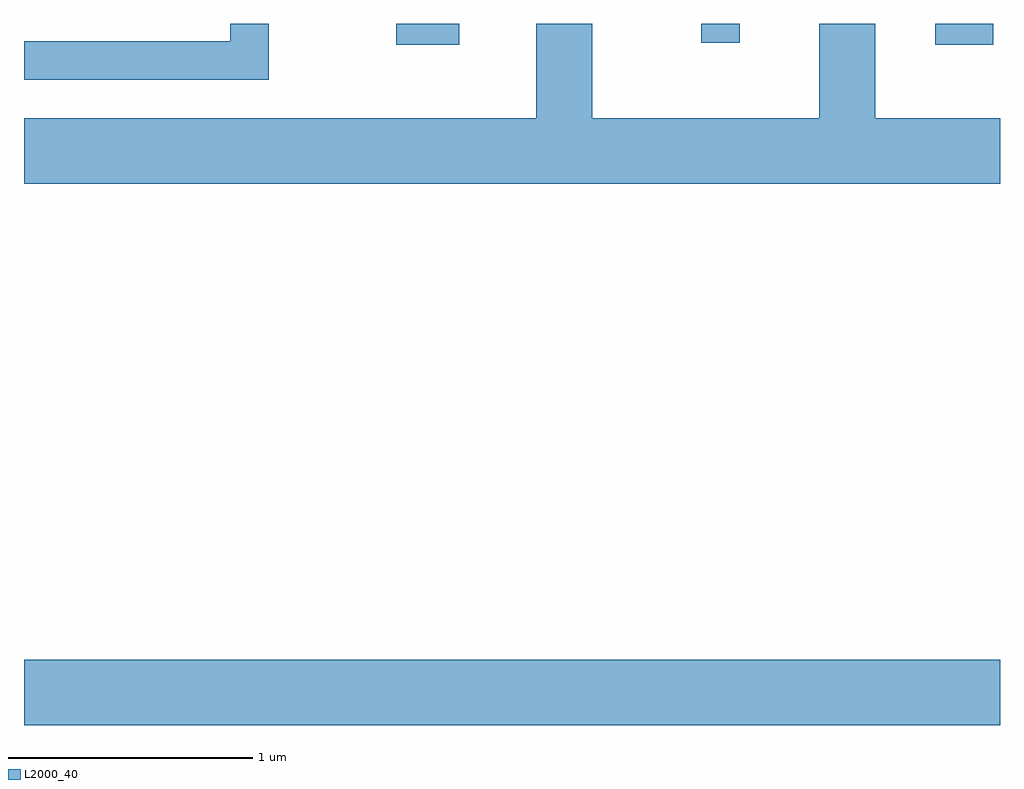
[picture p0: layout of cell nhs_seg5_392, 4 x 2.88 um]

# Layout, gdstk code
import gdstk
lib = gdstk.Library(unit=1e-6, precision=1e-09)
def R(c, l, rs):  # rectangles x0, y0, x1, y1
    for r in rs: c.add(gdstk.rectangle(r[:2], r[2:], *l))
def P(c, l, *ps):  # polygons
    for p in ps: c.add(gdstk.Polygon(p, *l))
L2000_40 = (2000, 40)

nhs_seg5_392 = lib.new_cell('nhs_seg5_392')
R(nhs_seg5_392, L2000_40, [(195.611,1501.196,199.611,1501.464), (197.136,1503.986,197.394,1504.072), (199.346,1503.986,199.584,1504.072), (198.386,1503.993,198.544,1504.072)])
P(nhs_seg5_392, L2000_40, [(199.611,1503.684),(199.099,1503.684),(199.099,1504.072),(198.871,1504.072),(198.871,1503.684),(197.939,1503.684),(197.939,1504.072),(197.711,1504.072),(197.711,1503.684),(195.611,1503.684),(195.611,1503.416),(199.611,1503.416)],
  [(196.614,1504.072),(196.456,1504.072),(196.456,1503.999),(195.611,1503.999),(195.611,1503.841),(196.614,1503.841)])

lib.write_gds('nhs_seg5_392.gds')
